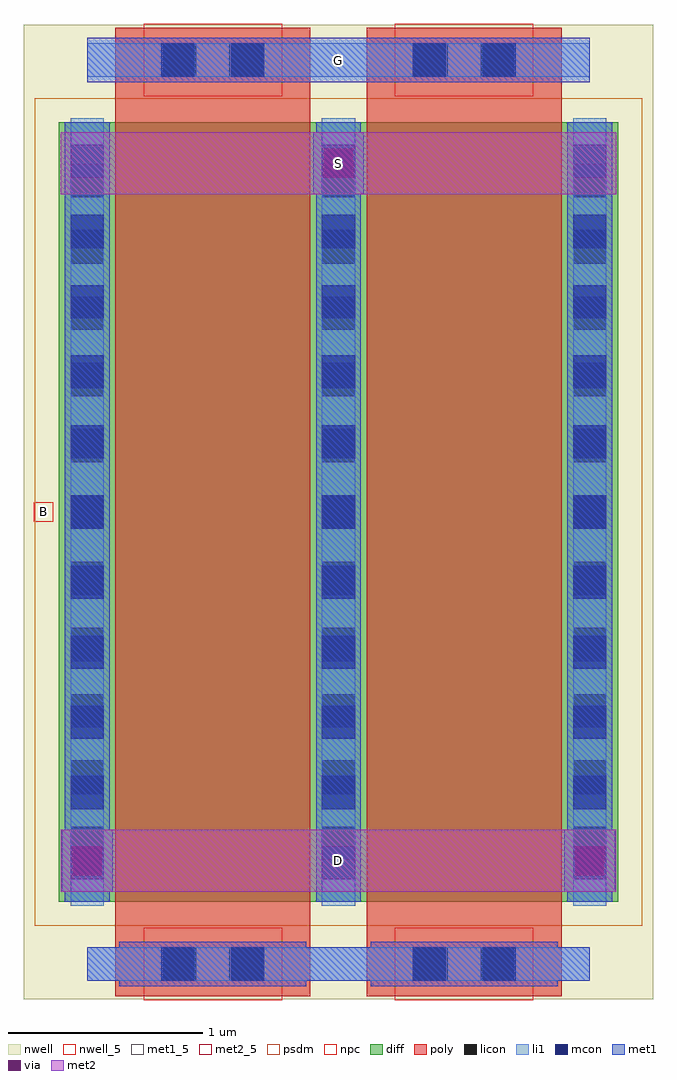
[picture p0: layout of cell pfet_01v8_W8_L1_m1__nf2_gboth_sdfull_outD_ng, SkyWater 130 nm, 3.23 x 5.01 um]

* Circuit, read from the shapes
.subckt pfet_01v8_W8_L1_m1__nf2_gboth_sdfull_outD_ng B D G S
XM1 S G D B sky130_fd_pr__pfet_01v8 w=4 l=1 m=2
.ends

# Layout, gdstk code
import gdstk
lib = gdstk.Library(unit=1e-6, precision=1e-09)
def R(c, l, rs):  # rectangles x0, y0, x1, y1
    for r in rs: c.add(gdstk.rectangle(r[:2], r[2:], *l))
def A(c, l, x, y, w, h, nx, ny, dx, dy):  # array of equal rectangles
    R(c, l, [(x+i*dx, y+j*dy, x+i*dx+w, y+j*dy+h) for i in range(nx) for j in range(ny)])
nwell_5 = (64, 5)
nwell = (64, 20)
diff = (65, 20)
poly = (66, 20)
licon = (66, 44)
li1 = (67, 20)
mcon = (67, 44)
met1_5 = (68, 5)
met1 = (68, 20)
via = (68, 44)
met2_5 = (69, 5)
met2 = (69, 20)
psdm = (94, 20)
npc = (95, 20)

sky130_fd_pr__pfet_01v8_ = lib.new_cell('sky130_fd_pr__pfet_01v8_ULMUVC')
R(sky130_fd_pr__pfet_01v8_, nwell, [(-1.615,-2.5,1.615,2.5)])
R(sky130_fd_pr__pfet_01v8_, diff, [(-1.435,-2,1.435,2)])
R(sky130_fd_pr__pfet_01v8_, poly, [(-1.145,-2.485,-0.145,2.485), (0.145,-2.485,1.145,2.485)])
A(sky130_fd_pr__pfet_01v8_, licon, -1.375, -1.785, 0.17, 0.17, 3, 11, 1.29, 0.34)
R(sky130_fd_pr__pfet_01v8_, licon, [(-0.9,-2.405,-0.73,-2.235), (-0.56,-2.405,-0.39,-2.235), (0.39,-2.405,0.56,-2.235), (0.73,-2.405,0.9,-2.235), (-0.9,2.235,-0.73,2.405), (-0.56,2.235,-0.39,2.405), (0.39,2.235,0.56,2.405), (0.73,2.235,0.9,2.405)])
A(sky130_fd_pr__pfet_01v8_, li1, -1.375, -2.02, 0.17, 4.04, 3, 1, 1.29, 0)
R(sky130_fd_pr__pfet_01v8_, li1, [(-1.29,-2.405,1.29,-2.235), (-1.29,2.235,1.29,2.405)])
A(sky130_fd_pr__pfet_01v8_, mcon, -1.375, -1.885, 0.17, 0.17, 3, 11, 1.29, 0.36)
R(sky130_fd_pr__pfet_01v8_, mcon, [(-0.91,-2.405,-0.74,-2.235), (-0.55,-2.405,-0.38,-2.235), (0.38,-2.405,0.55,-2.235), (0.74,-2.405,0.91,-2.235), (-0.91,2.235,-0.74,2.405), (-0.55,2.235,-0.38,2.405), (0.38,2.235,0.55,2.405), (0.74,2.235,0.91,2.405)])
A(sky130_fd_pr__pfet_01v8_, met1, -1.405, -2, 0.23, 4, 3, 1, 1.29, 0)
R(sky130_fd_pr__pfet_01v8_, met1, [(-1.125,-2.435,-0.165,-2.405), (0.165,-2.435,1.125,-2.405), (-1.29,-2.405,1.29,-2.235), (-1.125,-2.235,-0.165,-2.205), (0.165,-2.235,1.125,-2.205), (-1.125,2.205,-0.165,2.235), (0.165,2.205,1.125,2.235), (-1.29,2.235,1.29,2.405), (-1.125,2.405,-0.165,2.435), (0.165,2.405,1.125,2.435)])
R(sky130_fd_pr__pfet_01v8_, psdm, [(-1.56,-2.125,1.56,2.125)])
R(sky130_fd_pr__pfet_01v8_, npc, [(-1,-2.505,-0.29,-2.135), (0.29,-2.505,1,-2.135), (-1,2.135,-0.29,2.505), (0.29,2.135,1,2.505)])
sky130_fd_pr__pfet_01v8_.add(gdstk.Label('D0', (-1.29,0), layer=67, texttype=5))
sky130_fd_pr__pfet_01v8_.add(gdstk.Label('G', (0.645,2.32), layer=67, texttype=5))
sky130_fd_pr__pfet_01v8_.add(gdstk.Label('G', (-0.645,2.32), layer=67, texttype=5))
sky130_fd_pr__pfet_01v8_.add(gdstk.Label('S1', (0,0), layer=67, texttype=5))

pfet_01v8_w8_l1_m1__nf2_ = lib.new_cell('pfet_01v8_W8_L1_m1__nf2_gboth_sdfull_outD_ng')
R(pfet_01v8_w8_l1_m1__nf2_, nwell_5, [(0.05,2.45,0.15,2.55)])
R(pfet_01v8_w8_l1_m1__nf2_, nwell, [(0.05,2.45,0.15,2.55)])
R(pfet_01v8_w8_l1_m1__nf2_, met1_5, [(0.325,4.705,2.905,4.935)])
R(pfet_01v8_w8_l1_m1__nf2_, met1, [(0.195,0.55,0.455,0.87), (2.775,0.55,3.035,0.87), (1.485,4.13,1.745,4.45), (0.325,4.705,2.905,4.935)])
R(pfet_01v8_w8_l1_m1__nf2_, via, [(0.25,0.635,0.4,0.785), (2.83,0.635,2.98,0.785), (1.54,4.215,1.69,4.365)])
R(pfet_01v8_w8_l1_m1__nf2_, met2_5, [(0.19,0.55,3.04,0.87), (0.19,4.13,3.04,4.45)])
R(pfet_01v8_w8_l1_m1__nf2_, met2, [(0.19,0.55,3.04,0.87), (0.19,4.13,3.04,4.45)])
pfet_01v8_w8_l1_m1__nf2_.add(gdstk.Reference(sky130_fd_pr__pfet_01v8_, (1.615,2.5)))
pfet_01v8_w8_l1_m1__nf2_.add(gdstk.Label('S', (1.615,4.29), layer=69, texttype=5))
pfet_01v8_w8_l1_m1__nf2_.add(gdstk.Label('D', (1.615,0.71), layer=69, texttype=5))
pfet_01v8_w8_l1_m1__nf2_.add(gdstk.Label('G', (1.615,4.82), layer=68, texttype=5))
pfet_01v8_w8_l1_m1__nf2_.add(gdstk.Label('B', (0.1,2.5), layer=64, texttype=5))

lib.write_gds('pfet_01v8_W8_L1_m1__nf2_gboth_sdfull_outD_ng.gds')
